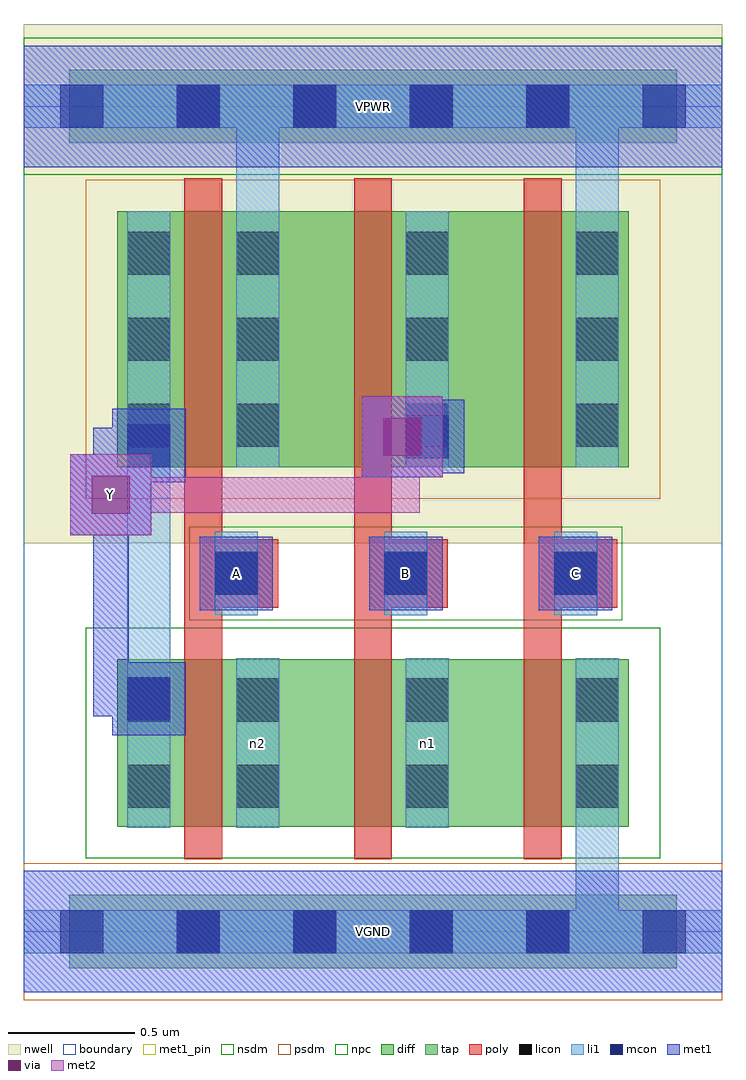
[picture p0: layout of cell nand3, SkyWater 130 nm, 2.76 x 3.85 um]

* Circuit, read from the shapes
.subckt nand3 A B C VGND VPWR Y n1 n2
XM1 n2 A Y VGND sky130_fd_pr__nfet_01v8 w=0.66 l=0.15
XM2 n1 B n2 VGND sky130_fd_pr__nfet_01v8 w=0.66 l=0.15
XM3 VGND C n1 VGND sky130_fd_pr__nfet_01v8 w=0.66 l=0.15
XM4 VPWR A Y VPWR sky130_fd_pr__pfet_01v8 w=1.01 l=0.15
XM5 Y B VPWR VPWR sky130_fd_pr__pfet_01v8 w=1.01 l=0.15
XM6 VPWR C Y VPWR sky130_fd_pr__pfet_01v8 w=1.01 l=0.15
.ends

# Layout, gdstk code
import gdstk
lib = gdstk.Library(unit=1e-6, precision=1e-09)
def R(c, l, rs):  # rectangles x0, y0, x1, y1
    for r in rs: c.add(gdstk.rectangle(r[:2], r[2:], *l))
def A(c, l, x, y, w, h, nx, ny, dx, dy):  # array of equal rectangles
    R(c, l, [(x+i*dx, y+j*dy, x+i*dx+w, y+j*dy+h) for i in range(nx) for j in range(ny)])
nwell = (64, 20)
diff = (65, 20)
tap = (65, 44)
poly = (66, 20)
licon = (66, 44)
li1 = (67, 20)
mcon = (67, 44)
met1_pin = (68, 16)
met1 = (68, 20)
via = (68, 44)
met2 = (69, 20)
nsdm = (93, 44)
psdm = (94, 20)
npc = (95, 20)
boundary = (235, 4)

nand3 = lib.new_cell('nand3')
R(nand3, nwell, [(0,1.535,2.76,3.585)])
R(nand3, diff, [(0.37,0.415,2.39,1.075), (0.37,1.835,2.39,2.845)])
R(nand3, tap, [(0.18,-0.145,2.58,0.145), (0.18,3.115,2.58,3.405)])
A(nand3, poly, 0.635, 0.285, 0.15, 2.69, 3, 1, 0.67, 0)
A(nand3, poly, 0.675, 1.28, 0.33, 0.27, 3, 1, 0.67, 0)
A(nand3, licon, 0.605, -0.085, 0.17, 0.17, 4, 2, 0.46, 3.26)
A(nand3, licon, 0.84, 0.49, 0.17, 0.17, 3, 2, 0.67, 0.34)
A(nand3, licon, 0.755, 1.33, 0.17, 0.17, 3, 1, 0.67, 0)
A(nand3, licon, 0.41, 1.915, 0.17, 0.17, 1, 3, 0, 0.34)
A(nand3, licon, 0.84, 1.915, 0.17, 0.17, 3, 3, 0.67, 0.34)
R(nand3, licon, [(0.41,0.49,0.58,0.66), (0.41,0.83,0.58,1)])
A(nand3, li1, 0.84, 0.41, 0.17, 0.67, 3, 1, 0.67, 0)
A(nand3, li1, 0.755, 1.25, 0.17, 0.33, 3, 1, 0.67, 0)
A(nand3, li1, 0.84, 1.835, 0.17, 1.01, 3, 1, 0.67, 0)
R(nand3, li1, [(0,-0.085,2.76,0.085), (2.18,-0.085,2.35,1.08), (0.41,0.41,0.58,1.08), (0.41,0.41,0.58,2.845), (0.41,1.835,0.58,2.845), (0.84,1.835,1.01,3.345), (2.18,1.835,2.35,3.345), (0,3.175,2.76,3.345)])
A(nand3, mcon, 0.145, -0.085, 0.17, 0.17, 6, 2, 0.46, 3.26)
A(nand3, mcon, 0.755, 1.33, 0.17, 0.17, 3, 1, 0.67, 0)
R(nand3, mcon, [(0.41,0.835,0.58,1.005), (0.41,1.835,0.58,2.005), (1.51,1.87,1.68,2.04)])
A(nand3, met1_pin, 0.695, 1.27, 0.29, 0.29, 3, 1, 0.67, 0)
R(nand3, met1_pin, [(0,-0.24,2.76,0.24), (0.185,1.565,0.505,1.885), (0,3.02,2.76,3.5)])
A(nand3, met1, 0.695, 1.27, 0.29, 0.29, 3, 1, 0.67, 0)
R(nand3, met1, [(0,-0.24,2.76,0.24), (0.35,0.775,0.64,1.065), (0.275,0.85,0.565,0.99), (0.275,0.85,0.415,1.795), (0.185,1.565,0.505,1.885), (0.275,1.655,0.415,1.99), (0.35,1.775,0.64,2.065), (1.335,1.795,1.655,2.115), (1.45,1.81,1.74,2.1), (0.275,1.85,0.565,1.99), (1.425,1.885,1.665,2.025), (0,3.02,2.76,3.5)])
R(nand3, via, [(0.27,1.65,0.42,1.8), (1.42,1.88,1.57,2.03)])
R(nand3, met2, [(0.185,1.565,0.505,1.885), (0.275,1.655,1.565,1.795), (1.425,1.655,1.565,2.025), (1.335,1.795,1.655,2.115)])
R(nand3, nsdm, [(0.245,0.29,2.515,1.2), (0,2.99,2.76,3.53)])
R(nand3, psdm, [(0,-0.27,2.76,0.27), (0.245,1.71,2.515,2.97)])
R(nand3, npc, [(0.655,1.23,2.365,1.6)])
R(nand3, boundary, [(0,0,2.76,3.26)])
nand3.add(gdstk.Label('n2', (0.925,0.745), layer=67, texttype=5))
nand3.add(gdstk.Label('n1', (1.595,0.745), layer=67, texttype=5))
nand3.add(gdstk.Label('A', (0.84,1.415), layer=68, texttype=5))
nand3.add(gdstk.Label('B', (1.51,1.415), layer=68, texttype=5))
nand3.add(gdstk.Label('C', (2.18,1.415), layer=68, texttype=5))
nand3.add(gdstk.Label('Y', (0.345,1.725), layer=68, texttype=5))
nand3.add(gdstk.Label('VPWR', (1.38,3.26), layer=68, texttype=5))
nand3.add(gdstk.Label('VGND', (1.38,0), layer=68, texttype=5))
nand3.add(gdstk.Label('A', (0.84,1.415), layer=68, texttype=16))
nand3.add(gdstk.Label('B', (1.51,1.415), layer=68, texttype=16))
nand3.add(gdstk.Label('C', (2.18,1.415), layer=68, texttype=16))
nand3.add(gdstk.Label('Y', (0.345,1.725), layer=68, texttype=16))
nand3.add(gdstk.Label('VPWR', (1.38,3.26), layer=68, texttype=16))
nand3.add(gdstk.Label('VGND', (1.38,0), layer=68, texttype=16))

lib.write_gds('nand3.gds')
